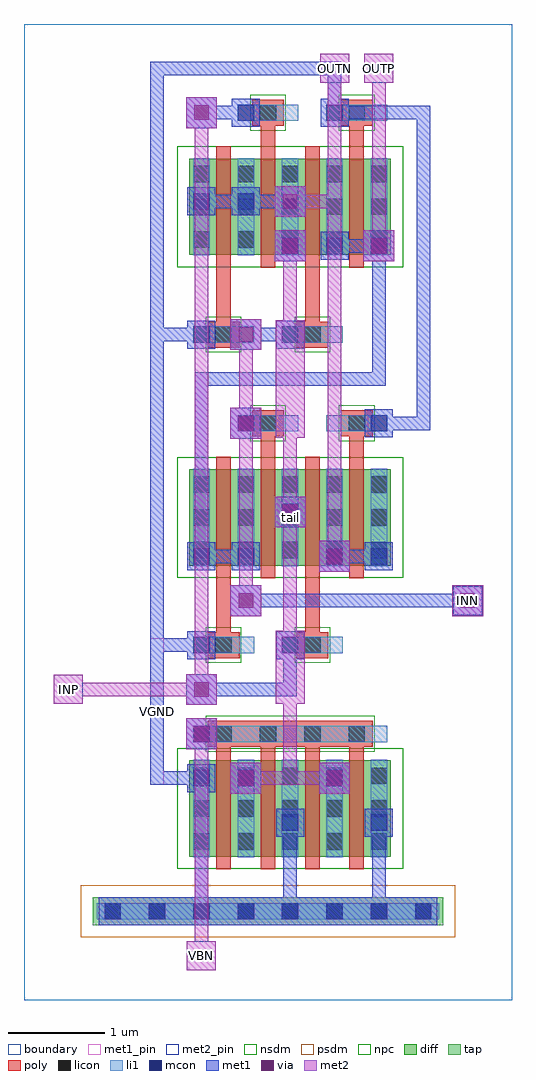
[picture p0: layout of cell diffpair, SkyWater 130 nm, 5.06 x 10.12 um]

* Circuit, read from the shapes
.subckt diffpair INN INP OUTN OUTP VBN VGND tail
XM1 tail VBN VGND VGND sky130_fd_pr__nfet_01v8 w=1 l=0.15 m=4
XM2 OUTP VGND OUTP VGND sky130_fd_pr__nfet_01v8 w=1 l=0.15 m=2
XM3 OUTN VGND OUTN VGND sky130_fd_pr__nfet_01v8 w=1 l=0.15 m=2
XM4 tail INN OUTP VGND sky130_fd_pr__nfet_01v8 w=1 l=0.15 m=2
XM5 tail INP OUTN VGND sky130_fd_pr__nfet_01v8 w=1 l=0.15 m=2
.ends

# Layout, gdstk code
import gdstk
lib = gdstk.Library(unit=1e-6, precision=1e-09)
def R(c, l, rs):  # rectangles x0, y0, x1, y1
    for r in rs: c.add(gdstk.rectangle(r[:2], r[2:], *l))
def A(c, l, x, y, w, h, nx, ny, dx, dy):  # array of equal rectangles
    R(c, l, [(x+i*dx, y+j*dy, x+i*dx+w, y+j*dy+h) for i in range(nx) for j in range(ny)])
diff = (65, 20)
tap = (65, 44)
poly = (66, 20)
licon = (66, 44)
li1 = (67, 20)
mcon = (67, 44)
met1_pin = (68, 16)
met1 = (68, 20)
via = (68, 44)
met2_pin = (69, 16)
met2 = (69, 20)
nsdm = (93, 44)
psdm = (94, 20)
npc = (95, 20)
boundary = (235, 4)

diffpair = lib.new_cell('diffpair')
R(diffpair, diff, [(1.715,1.485,3.805,2.485), (1.715,4.505,3.805,5.505), (1.715,7.725,3.805,8.725)])
R(diffpair, tap, [(0.715,0.775,4.345,1.065)])
A(diffpair, poly, 1.995, 1.355, 0.15, 1.405, 4, 1, 0.46, 0)
R(diffpair, poly, [(1.905,2.625,3.615,2.895), (1.905,3.545,2.235,3.815), (2.825,3.545,3.155,3.815), (1.995,3.68,2.145,5.635), (2.915,3.68,3.065,5.635), (2.455,4.375,2.605,5.98), (3.375,4.375,3.525,5.98), (2.365,5.845,2.695,6.115), (3.285,5.845,3.615,6.115), (1.905,6.765,2.235,7.035), (2.825,6.765,3.155,7.035), (1.995,6.9,2.145,8.855), (2.915,6.9,3.065,8.855), (2.455,7.595,2.605,9.2), (3.375,7.595,3.525,9.2), (2.365,9.065,2.695,9.335), (3.285,9.065,3.615,9.335)])
A(diffpair, licon, 0.835, 0.835, 0.17, 0.17, 8, 1, 0.46, 0)
A(diffpair, licon, 1.755, 1.56, 0.17, 0.17, 5, 3, 0.46, 0.34)
A(diffpair, licon, 1.985, 2.675, 0.17, 0.17, 4, 1, 0.46, 0)
A(diffpair, licon, 1.755, 4.58, 0.17, 0.17, 5, 3, 0.46, 0.34)
A(diffpair, licon, 1.755, 7.8, 0.17, 0.17, 5, 3, 0.46, 0.34)
R(diffpair, licon, [(1.985,3.595,2.155,3.765), (2.905,3.595,3.075,3.765), (2.445,5.895,2.615,6.065), (3.365,5.895,3.535,6.065), (1.985,6.815,2.155,6.985), (2.905,6.815,3.075,6.985), (2.445,9.115,2.615,9.285), (3.365,9.115,3.535,9.285)])
A(diffpair, li1, 1.755, 1.48, 0.17, 1.01, 5, 2, 0.46, 3.02)
A(diffpair, li1, 1.755, 7.72, 0.17, 1.01, 5, 1, 0.46, 0)
R(diffpair, li1, [(0.755,0.835,4.305,1.005), (1.755,2.675,3.765,2.845), (1.755,3.595,2.385,3.765), (2.675,3.595,3.305,3.765), (2.215,5.895,2.845,6.065), (3.135,5.895,3.765,6.065), (1.755,6.815,2.385,6.985), (2.675,6.815,3.305,6.985), (2.215,9.115,2.845,9.285), (3.135,9.115,3.765,9.285)])
A(diffpair, mcon, 0.835, 0.835, 0.17, 0.17, 8, 1, 0.46, 0)
A(diffpair, mcon, 1.755, 2.675, 0.17, 0.17, 1, 3, 0, 0.92)
A(diffpair, mcon, 2.675, 7.735, 0.17, 0.17, 3, 1, 0.46, 0)
R(diffpair, mcon, [(2.675,1.755,2.845,1.925), (3.595,1.755,3.765,1.925), (1.755,2.215,1.925,2.385), (2.215,2.215,2.385,2.385), (3.135,2.215,3.305,2.385), (2.675,3.595,2.845,3.765), (2.215,4.515,2.385,4.685), (3.135,4.515,3.305,4.685), (3.595,4.515,3.765,4.685), (2.675,4.975,2.845,5.145), (2.215,5.895,2.385,6.065), (3.595,5.895,3.765,6.065), (1.755,6.815,1.925,6.985), (2.675,6.815,2.845,6.985), (1.755,8.195,1.925,8.365), (2.215,8.195,2.385,8.365), (2.215,9.115,2.385,9.285), (3.135,9.115,3.305,9.285)])
R(diffpair, met1_pin, [(1.31,2.23,1.45,3.75)])
A(diffpair, met1, 2.14, 2.14, 0.32, 0.32, 1, 3, 0, 1.84)
A(diffpair, met1, 1.695, 2.615, 0.29, 0.29, 1, 3, 0, 0.92)
A(diffpair, met1, 2.615, 7.675, 0.29, 0.29, 3, 1, 0.46, 0)
R(diffpair, met1, [(0.775,0.775,4.285,1.065), (1.77,0.85,1.91,2.37), (1.77,0.85,1.91,0.99), (1.77,0.85,2.83,0.99), (2.69,0.85,3.75,0.99), (2.69,0.85,2.83,1.91), (3.61,0.85,3.75,1.91), (2.615,1.695,2.905,1.985), (3.535,1.695,3.825,1.985), (3.06,2.14,3.38,2.46), (1.695,2.155,1.985,2.445), (2.155,2.155,2.445,2.445), (3.075,2.155,3.365,2.445), (1.31,2.23,1.91,2.37), (1.31,2.23,1.45,3.75), (1.68,2.6,2,2.92), (1.68,3.06,2,3.38), (1.77,3.15,2.83,3.29), (2.69,3.15,2.83,3.75), (2.615,3.535,2.905,3.825), (1.31,3.61,1.91,3.75), (1.31,3.61,1.45,6.97), (4.44,3.98,4.76,4.3), (2.23,4.07,4.67,4.21), (3.06,4.44,3.38,4.76), (2.155,4.455,2.445,4.745), (3.075,4.455,3.365,4.745), (3.535,4.455,3.825,4.745), (1.77,4.53,2.37,4.67), (1.77,4.53,1.91,6.51), (3.15,4.53,3.75,4.67), (2.6,4.9,2.92,5.22), (2.615,4.915,2.905,5.205), (2.155,5.835,2.445,6.125), (3.535,5.835,3.825,6.125), (3.61,5.91,4.21,6.05), (4.07,5.91,4.21,9.27), (1.77,6.37,3.75,6.51), (3.61,6.37,3.75,7.89), (2.14,6.74,2.46,7.06), (1.695,6.755,1.985,7.045), (2.615,6.755,2.905,7.045), (1.31,6.83,1.91,6.97), (1.31,6.83,1.45,9.73), (2.23,6.83,2.83,6.97), (2.6,7.66,2.92,7.98), (3.52,7.66,3.84,7.98), (3.15,7.75,3.75,7.89), (2.6,8.12,2.92,8.44), (1.695,8.135,1.985,8.425), (2.155,8.135,2.445,8.425), (1.77,8.21,2.37,8.35), (2.23,8.21,2.83,8.35), (1.68,9.04,2,9.36), (2.155,9.055,2.445,9.345), (3.075,9.055,3.365,9.345), (1.77,9.13,2.37,9.27), (3.15,9.13,4.21,9.27), (3.15,9.13,3.29,9.73), (1.31,9.59,3.29,9.73)])
A(diffpair, via, 2.225, 2.225, 0.15, 0.15, 1, 3, 0, 1.84)
R(diffpair, via, [(3.145,2.225,3.295,2.375), (1.765,2.685,1.915,2.835), (1.765,3.145,1.915,3.295), (4.525,4.065,4.675,4.215), (3.145,4.525,3.295,4.675), (2.685,4.985,2.835,5.135), (2.225,6.825,2.375,6.975), (2.685,7.745,2.835,7.895), (3.605,7.745,3.755,7.895), (2.685,8.205,2.835,8.355), (1.765,9.125,1.915,9.275)])
R(diffpair, met2_pin, [(1.69,0.31,1.99,0.61), (0.31,3.07,0.61,3.37), (4.45,3.99,4.75,4.29), (3.07,9.51,3.37,9.81), (3.53,9.51,3.83,9.81)])
A(diffpair, met2, 2.14, 2.14, 0.32, 0.32, 1, 3, 0, 1.84)
R(diffpair, met2, [(1.69,0.31,1.99,0.61), (1.77,0.39,1.91,0.53), (1.77,0.39,1.91,2.83), (3.06,2.14,3.38,2.46), (2.23,2.23,2.83,2.37), (2.69,2.23,2.83,3.29), (2.69,2.23,3.29,2.37), (1.68,2.6,2,2.92), (1.68,3.06,2,3.38), (0.31,3.07,0.61,3.37), (2.61,3.07,2.91,3.83), (0.39,3.15,0.53,3.29), (0.39,3.15,1.91,3.29), (1.77,3.15,1.91,9.27), (2.69,3.61,2.83,5.13), (4.44,3.98,4.76,4.3), (4.45,3.99,4.75,4.29), (2.23,4.07,2.37,6.05), (4.53,4.07,4.67,4.21), (3.06,4.44,3.38,4.76), (3.15,4.53,3.29,9.73), (2.6,4.9,2.92,5.22), (2.69,4.99,2.83,6.05), (2.61,5.83,2.91,7.05), (2.23,5.91,2.37,6.97), (2.14,6.74,2.46,7.06), (2.69,6.83,2.83,7.89), (2.6,7.66,2.92,7.98), (3.52,7.66,3.84,7.98), (3.61,7.75,3.75,9.73), (2.6,8.12,2.92,8.44), (2.69,8.21,3.29,8.35), (1.68,9.04,2,9.36), (3.07,9.51,3.37,9.81), (3.53,9.51,3.83,9.81), (3.15,9.59,3.29,9.73), (3.61,9.59,3.75,9.73)])
R(diffpair, nsdm, [(1.59,1.36,3.93,2.61), (1.59,4.38,3.93,5.63), (1.59,7.6,3.93,8.85)])
R(diffpair, psdm, [(0.59,0.65,4.47,1.19)])
R(diffpair, npc, [(1.885,2.575,3.635,2.945), (1.885,3.495,2.255,3.865), (2.805,3.495,3.175,3.865), (2.345,5.795,2.715,6.165), (3.265,5.795,3.635,6.165), (1.885,6.715,2.255,7.085), (2.805,6.715,3.175,7.085), (2.345,9.015,2.715,9.385), (3.265,9.015,3.635,9.385)])
R(diffpair, boundary, [(0,0,5.06,10.12)])
diffpair.add(gdstk.Label('tail', (2.76,5.005), layer=67, texttype=5))
diffpair.add(gdstk.Label('VGND', (1.38,2.99), layer=68, texttype=5))
diffpair.add(gdstk.Label('INP', (0.46,3.22), layer=69, texttype=5))
diffpair.add(gdstk.Label('INN', (4.6,4.14), layer=69, texttype=5))
diffpair.add(gdstk.Label('VBN', (1.84,0.46), layer=69, texttype=5))
diffpair.add(gdstk.Label('OUTP', (3.68,9.66), layer=69, texttype=5))
diffpair.add(gdstk.Label('OUTN', (3.22,9.66), layer=69, texttype=5))
diffpair.add(gdstk.Label('VGND', (1.38,2.99), layer=68, texttype=16))
diffpair.add(gdstk.Label('INP', (0.46,3.22), layer=69, texttype=16))
diffpair.add(gdstk.Label('INN', (4.6,4.14), layer=69, texttype=16))
diffpair.add(gdstk.Label('VBN', (1.84,0.46), layer=69, texttype=16))
diffpair.add(gdstk.Label('OUTP', (3.68,9.66), layer=69, texttype=16))
diffpair.add(gdstk.Label('OUTN', (3.22,9.66), layer=69, texttype=16))

lib.write_gds('diffpair.gds')
